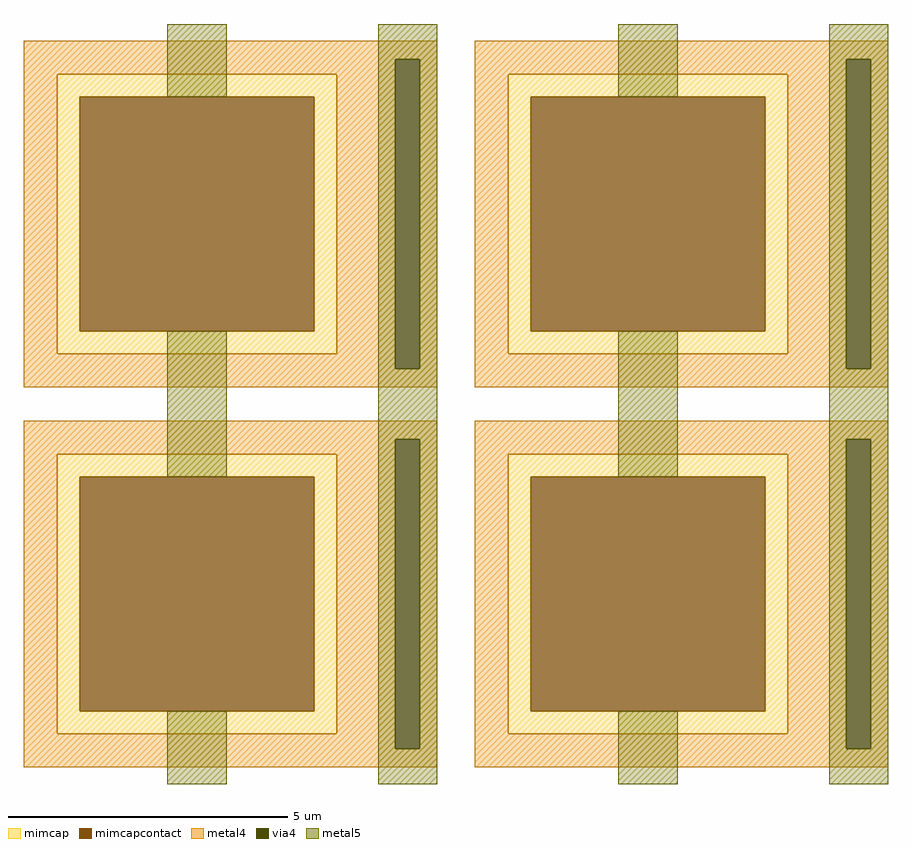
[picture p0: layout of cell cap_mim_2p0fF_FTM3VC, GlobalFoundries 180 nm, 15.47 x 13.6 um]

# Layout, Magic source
magic
tech gf180mcuD
magscale 1 10
<< mimcap >>
rect -1427 1100 -427 1180
rect -1427 260 -1347 1100
rect -507 260 -427 1100
rect -1427 180 -427 260
rect 187 1100 1187 1180
rect 187 260 267 1100
rect 1107 260 1187 1100
rect 187 180 1187 260
rect -1427 -260 -427 -180
rect -1427 -1100 -1347 -260
rect -507 -1100 -427 -260
rect -1427 -1180 -427 -1100
rect 187 -260 1187 -180
rect 187 -1100 267 -260
rect 1107 -1100 1187 -260
rect 187 -1180 1187 -1100
<< mimcapcontact >>
rect -1347 260 -507 1100
rect 267 260 1107 1100
rect -1347 -1100 -507 -260
rect 267 -1100 1107 -260
<< metal4 >>
rect -1547 1233 -67 1300
rect -1547 1180 -217 1233
rect -1547 180 -1427 1180
rect -427 180 -217 1180
rect -1547 127 -217 180
rect -129 127 -67 1233
rect -1547 60 -67 127
rect 67 1233 1547 1300
rect 67 1180 1397 1233
rect 67 180 187 1180
rect 1187 180 1397 1180
rect 67 127 1397 180
rect 1485 127 1547 1233
rect 67 60 1547 127
rect -1547 -127 -67 -60
rect -1547 -180 -217 -127
rect -1547 -1180 -1427 -180
rect -427 -1180 -217 -180
rect -1547 -1233 -217 -1180
rect -129 -1233 -67 -127
rect -1547 -1300 -67 -1233
rect 67 -127 1547 -60
rect 67 -180 1397 -127
rect 67 -1180 187 -180
rect 1187 -1180 1397 -180
rect 67 -1233 1397 -1180
rect 1485 -1233 1547 -127
rect 67 -1300 1547 -1233
<< via4 >>
rect -217 127 -129 1233
rect 1397 127 1485 1233
rect -217 -1233 -129 -127
rect 1397 -1233 1485 -127
<< metal5 >>
rect -1033 1100 -821 1360
rect -279 1233 -67 1360
rect -1033 -260 -821 260
rect -279 127 -217 1233
rect -129 127 -67 1233
rect 581 1100 793 1360
rect 1335 1233 1547 1360
rect -279 -127 -67 127
rect -1033 -1360 -821 -1100
rect -279 -1233 -217 -127
rect -129 -1233 -67 -127
rect 581 -260 793 260
rect 1335 127 1397 1233
rect 1485 127 1547 1233
rect 1335 -127 1547 127
rect -279 -1360 -67 -1233
rect 581 -1360 793 -1100
rect 1335 -1233 1397 -127
rect 1485 -1233 1547 -127
rect 1335 -1360 1547 -1233
<< properties >>
string FIXED_BBOX 67 60 1307 1300
string gencell cap_mim_2p0fF
string library gf180mcu
string parameters w 5.0 l 5.0 val 1.025k carea 25.00 cperi 20.00 class capacitor nx 2 ny 2 dummy 0 square 1 lmin 5.00 wmin 5.00 lmax 100.0 wmax 100.0 dc 0 bconnect 1 tconnect 1
<< end >>
